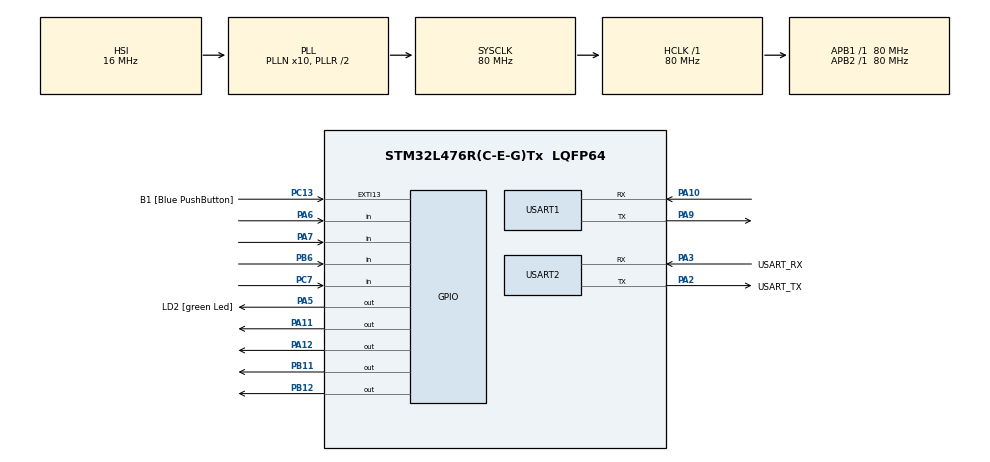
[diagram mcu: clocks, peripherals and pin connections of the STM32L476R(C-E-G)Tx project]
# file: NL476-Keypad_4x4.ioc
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Mcu.Family=STM32L4
Mcu.Name=STM32L476R(C-E-G)Tx
Mcu.Package=LQFP64
NVIC.PriorityGroup=NVIC_PRIORITYGROUP_4
PA10.Mode=Asynchronous
PA10.Signal=USART1_RX
PA11.Signal=GPIO_Output
PA12.Signal=GPIO_Output
PA13\ (JTMS-SWDIO).GPIO_Label=TMS
PA13\ (JTMS-SWDIO).Mode=Serial_Wire
PA13\ (JTMS-SWDIO).Signal=SYS_JTMS-SWDIO
PA14\ (JTCK-SWCLK).GPIO_Label=TCK
PA14\ (JTCK-SWCLK).Mode=Serial_Wire
PA14\ (JTCK-SWCLK).Signal=SYS_JTCK-SWCLK
PA2.GPIO_Label=USART_TX
PA2.GPIO_Mode=GPIO_MODE_AF_PP
PA2.GPIO_PuPd=GPIO_NOPULL
PA2.GPIO_Speed=GPIO_SPEED_FREQ_VERY_HIGH
PA2.Mode=Asynchronous
PA2.Signal=USART2_TX
PA3.GPIO_Label=USART_RX
PA3.GPIO_Mode=GPIO_MODE_AF_PP
PA3.GPIO_PuPd=GPIO_NOPULL
PA3.GPIO_Speed=GPIO_SPEED_FREQ_VERY_HIGH
PA3.Mode=Asynchronous
PA3.Signal=USART2_RX
PA5.GPIO_Label=LD2 [green Led]
PA5.GPIO_ModeDefaultOutputPP=GPIO_MODE_OUTPUT_PP
PA5.GPIO_PuPd=GPIO_NOPULL
PA5.GPIO_Speed=GPIO_SPEED_FREQ_LOW
PA5.Signal=GPIO_Output
PA6.Signal=GPIO_Input
PA7.Signal=GPIO_Input
PA9.Mode=Asynchronous
PA9.Signal=USART1_TX
PB11.Signal=GPIO_Output
PB12.Signal=GPIO_Output
PB3\ (JTDO-TRACESWO).GPIO_Label=SWO
PB3\ (JTDO-TRACESWO).Signal=SYS_JTDO-SWO
PB6.Signal=GPIO_Input
PC13.GPIO_Label=B1 [Blue PushButton]
PC13.GPIO_ModeDefaultEXTI=GPIO_MODE_IT_FALLING
PC13.GPIO_PuPd=GPIO_NOPULL
PC13.Signal=GPXTI13
PC14-OSC32_IN\ (PC14).Mode=LSE-External-Oscillator
PC14-OSC32_IN\ (PC14).Signal=RCC_OSC32_IN
PC15-OSC32_OUT\ (PC15).Mode=LSE-External-Oscillator
PC15-OSC32_OUT\ (PC15).Signal=RCC_OSC32_OUT
PC7.Signal=GPIO_Input
PH0-OSC_IN\ (PH0).Signal=RCC_OSC_IN
PH1-OSC_OUT\ (PH1).Signal=RCC_OSC_OUT
ProjectManager.HeapSize=0x200
ProjectManager.StackSize=0x400
ProjectManager.TargetToolchain=MDK-ARM V5
RCC.ADCFreq_Value=64000000
RCC.AHBFreq_Value=80000000
RCC.APB1Freq_Value=80000000
RCC.APB1TimFreq_Value=80000000
RCC.APB2Freq_Value=80000000
RCC.APB2TimFreq_Value=80000000
RCC.CortexFreq_Value=80000000
RCC.HCLKFreq_Value=80000000
RCC.HSE_VALUE=8000000
RCC.HSI_VALUE=16000000
RCC.MSI_VALUE=4000000
RCC.PLLN=10
RCC.PLLSourceVirtual=RCC_PLLSOURCE_HSI
RCC.PREFETCH_ENABLE=1
RCC.SYSCLKFreq_VALUE=80000000
RCC.SYSCLKSource=RCC_SYSCLKSOURCE_PLLCLK
RCC.USBFreq_Value=64000000
RCC.VCOOutputFreq_Value=160000000
USART1.VirtualMode-Asynchronous=VM_ASYNC
USART2.VirtualMode-Asynchronous=VM_ASYNC
board=NUCLEO-L476RG

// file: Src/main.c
/**
  ******************************************************************************
  * @file           : main.c
  * @brief          : Main program body
  ******************************************************************************
  ** This notice applies to any and all portions of this file
  * that are not between comment pairs USER CODE BEGIN and
  * USER CODE END. Other portions of this file, whether
  * inserted by the user or by software development tools
  * are owned by their respective copyright owners.
  *
  * COPYRIGHT(c) 2018 STMicroelectronics
  *
  * Redistribution and use in source and binary forms, with or without modification,
  * are permitted provided that the following conditions are met:
  *   1. Redistributions of source code must retain the above copyright notice,
  *      this list of conditions and the following disclaimer.
  *   2. Redistributions in binary form must reproduce the above copyright notice,
  *      this list of conditions and the following disclaimer in the documentation
  *      and/or other materials provided with the distribution.
  *   3. Neither the name of STMicroelectronics nor the names of its contributors
  *      may be used to endorse or promote products derived from this software
  *      without specific prior written permission.
  *
  * THIS SOFTWARE IS PROVIDED BY THE COPYRIGHT HOLDERS AND CONTRIBUTORS "AS IS"
  * AND ANY EXPRESS OR IMPLIED WARRANTIES, INCLUDING, BUT NOT LIMITED TO, THE
  * IMPLIED WARRANTIES OF MERCHANTABILITY AND FITNESS FOR A PARTICULAR PURPOSE ARE
  * DISCLAIMED. IN NO EVENT SHALL THE COPYRIGHT HOLDER OR CONTRIBUTORS BE LIABLE
  * FOR ANY DIRECT, INDIRECT, INCIDENTAL, SPECIAL, EXEMPLARY, OR CONSEQUENTIAL
  * DAMAGES (INCLUDING, BUT NOT LIMITED TO, PROCUREMENT OF SUBSTITUTE GOODS OR
  * SERVICES; LOSS OF USE, DATA, OR PROFITS; OR BUSINESS INTERRUPTION) HOWEVER
  * CAUSED AND ON ANY THEORY OF LIABILITY, WHETHER IN CONTRACT, STRICT LIABILITY,
  * OR TORT (INCLUDING NEGLIGENCE OR OTHERWISE) ARISING IN ANY WAY OUT OF THE USE
  * OF THIS SOFTWARE, EVEN IF ADVISED OF THE POSSIBILITY OF SUCH DAMAGE.
  *
  ******************************************************************************
  */
#include "main.h"
#include "stm32l4xx_hal.h"

/* USER CODE BEGIN Includes */
#include "MY_Keypad4x4.h"
#include <stdbool.h>
/* USER CODE END Includes */

UART_HandleTypeDef huart1;
UART_HandleTypeDef huart2;

/* USER CODE BEGIN PV */
/* Private variables ---------------------------------------------------------*/

/* USER CODE END PV */

void SystemClock_Config(void);
static void MX_GPIO_Init(void);
static void MX_USART2_UART_Init(void);
static void MX_USART1_UART_Init(void);

/* USER CODE BEGIN PFP */
/* Private function prototypes -----------------------------------------------*/

/* USER CODE END PFP */

/* USER CODE BEGIN 0 */

	bool mySwitches[16];

/* USER CODE END 0 */

int main(void)
{
  /* USER CODE BEGIN 1 */
	Keypad_WiresTypeDef myKeypadStruct;
  /* USER CODE END 1 */

  /* MCU Configuration----------------------------------------------------------*/

  /* Reset of all peripherals, Initializes the Flash interface and the Systick. */
  HAL_Init();

  /* Configure the system clock */
  SystemClock_Config();

  /* Initialize all configured peripherals */
  MX_GPIO_Init();
  MX_USART2_UART_Init();
  MX_USART1_UART_Init();
  /* USER CODE BEGIN 2 */

	myKeypadStruct.IN0_Port = GPIOA;
	myKeypadStruct.IN1_Port = GPIOA;
	myKeypadStruct.IN2_Port = GPIOB;
	myKeypadStruct.IN3_Port = GPIOC;

	myKeypadStruct.OUT0_Port = GPIOA;
	myKeypadStruct.OUT1_Port = GPIOA;
	myKeypadStruct.OUT2_Port = GPIOB;
	myKeypadStruct.OUT3_Port = GPIOB;

	myKeypadStruct.IN0pin = GPIO_PIN_6;
	myKeypadStruct.IN1pin = GPIO_PIN_7;
	myKeypadStruct.IN2pin = GPIO_PIN_6;
	myKeypadStruct.IN3pin = GPIO_PIN_7;

	myKeypadStruct.OUT0pin = GPIO_PIN_12;
	myKeypadStruct.OUT1pin = GPIO_PIN_11;
	myKeypadStruct.OUT2pin = GPIO_PIN_12;
	myKeypadStruct.OUT3pin = GPIO_PIN_11;

	Keypad4x4_Init(&myKeypadStruct);
  /* USER CODE END 2 */

  /* Infinite loop */
  while (1)
  {

  /* USER CODE BEGIN 3 */

		Keypad4x4_ReadKeypad(mySwitches);
		HAL_Delay(100);
  }
  /* USER CODE END 3 */

}

void SystemClock_Config(void)
{

  RCC_OscInitTypeDef RCC_OscInitStruct;
  RCC_ClkInitTypeDef RCC_ClkInitStruct;
  RCC_PeriphCLKInitTypeDef PeriphClkInit;

    /**Initializes the CPU, AHB and APB busses clocks
    */
  RCC_OscInitStruct.OscillatorType = RCC_OSCILLATORTYPE_HSI;
  RCC_OscInitStruct.HSIState = RCC_HSI_ON;
  RCC_OscInitStruct.HSICalibrationValue = 16;
  RCC_OscInitStruct.PLL.PLLState = RCC_PLL_ON;
  RCC_OscInitStruct.PLL.PLLSource = RCC_PLLSOURCE_HSI;
  RCC_OscInitStruct.PLL.PLLN = 10;
  RCC_OscInitStruct.PLL.PLLP = RCC_PLLP_DIV7;
  RCC_OscInitStruct.PLL.PLLQ = RCC_PLLQ_DIV2;
  RCC_OscInitStruct.PLL.PLLR = RCC_PLLR_DIV2;
  if (HAL_RCC_OscConfig(&RCC_OscInitStruct) != HAL_OK)
  {
    _Error_Handler(__FILE__, __LINE__);
  }

    /**Initializes the CPU, AHB and APB busses clocks
    */
  RCC_ClkInitStruct.ClockType = RCC_CLOCKTYPE_HCLK|RCC_CLOCKTYPE_SYSCLK
                              |RCC_CLOCKTYPE_PCLK1|RCC_CLOCKTYPE_PCLK2;
  RCC_ClkInitStruct.SYSCLKSource = RCC_SYSCLKSOURCE_PLLCLK;
  RCC_ClkInitStruct.AHBCLKDivider = RCC_SYSCLK_DIV1;
  RCC_ClkInitStruct.APB1CLKDivider = RCC_HCLK_DIV1;
  RCC_ClkInitStruct.APB2CLKDivider = RCC_HCLK_DIV1;

  if (HAL_RCC_ClockConfig(&RCC_ClkInitStruct, FLASH_LATENCY_4) != HAL_OK)
  {
    _Error_Handler(__FILE__, __LINE__);
  }

  PeriphClkInit.PeriphClockSelection = RCC_PERIPHCLK_USART1|RCC_PERIPHCLK_USART2;
  PeriphClkInit.Usart1ClockSelection = RCC_USART1CLKSOURCE_PCLK2;
  PeriphClkInit.Usart2ClockSelection = RCC_USART2CLKSOURCE_PCLK1;
  if (HAL_RCCEx_PeriphCLKConfig(&PeriphClkInit) != HAL_OK)
  {
    _Error_Handler(__FILE__, __LINE__);
  }

    /**Configure the main internal regulator output voltage
    */
  if (HAL_PWREx_ControlVoltageScaling(PWR_REGULATOR_VOLTAGE_SCALE1) != HAL_OK)
  {
    _Error_Handler(__FILE__, __LINE__);
  }

    /**Configure the Systick interrupt time
    */
  HAL_SYSTICK_Config(HAL_RCC_GetHCLKFreq()/1000);

    /**Configure the Systick
    */
  HAL_SYSTICK_CLKSourceConfig(SYSTICK_CLKSOURCE_HCLK);

  /* SysTick_IRQn interrupt configuration */
  HAL_NVIC_SetPriority(SysTick_IRQn, 0, 0);
}

/* USART1 init function */
static void MX_USART1_UART_Init(void)
{

  huart1.Instance = USART1;
  huart1.Init.BaudRate = 115200;
  huart1.Init.WordLength = UART_WORDLENGTH_7B;
  huart1.Init.StopBits = UART_STOPBITS_1;
  huart1.Init.Parity = UART_PARITY_NONE;
  huart1.Init.Mode = UART_MODE_TX_RX;
  huart1.Init.HwFlowCtl = UART_HWCONTROL_NONE;
  huart1.Init.OverSampling = UART_OVERSAMPLING_16;
  huart1.Init.OneBitSampling = UART_ONE_BIT_SAMPLE_DISABLE;
  huart1.AdvancedInit.AdvFeatureInit = UART_ADVFEATURE_NO_INIT;
  if (HAL_UART_Init(&huart1) != HAL_OK)
  {
    _Error_Handler(__FILE__, __LINE__);
  }

}

/* USART2 init function */
static void MX_USART2_UART_Init(void)
{

  huart2.Instance = USART2;
  huart2.Init.BaudRate = 115200;
  huart2.Init.WordLength = UART_WORDLENGTH_7B;
  huart2.Init.StopBits = UART_STOPBITS_1;
  huart2.Init.Parity = UART_PARITY_NONE;
  huart2.Init.Mode = UART_MODE_TX_RX;
  huart2.Init.HwFlowCtl = UART_HWCONTROL_NONE;
  huart2.Init.OverSampling = UART_OVERSAMPLING_16;
  huart2.Init.OneBitSampling = UART_ONE_BIT_SAMPLE_DISABLE;
  huart2.AdvancedInit.AdvFeatureInit = UART_ADVFEATURE_NO_INIT;
  if (HAL_UART_Init(&huart2) != HAL_OK)
  {
    _Error_Handler(__FILE__, __LINE__);
  }

}

/** Configure pins as
        * Analog
        * Input
        * Output
        * EVENT_OUT
        * EXTI
*/
static void MX_GPIO_Init(void)
{

  GPIO_InitTypeDef GPIO_InitStruct;

  /* GPIO Ports Clock Enable */
  __HAL_RCC_GPIOC_CLK_ENABLE();
  __HAL_RCC_GPIOH_CLK_ENABLE();
  __HAL_RCC_GPIOA_CLK_ENABLE();
  __HAL_RCC_GPIOB_CLK_ENABLE();

  /*Configure GPIO pin Output Level */
  HAL_GPIO_WritePin(GPIOA, LD2_Pin|GPIO_PIN_11|GPIO_PIN_12, GPIO_PIN_RESET);

  /*Configure GPIO pin Output Level */
  HAL_GPIO_WritePin(GPIOB, GPIO_PIN_11|GPIO_PIN_12, GPIO_PIN_RESET);

  /*Configure GPIO pin : B1_Pin */
  GPIO_InitStruct.Pin = B1_Pin;
  GPIO_InitStruct.Mode = GPIO_MODE_IT_FALLING;
  GPIO_InitStruct.Pull = GPIO_NOPULL;
  HAL_GPIO_Init(B1_GPIO_Port, &GPIO_InitStruct);

  /*Configure GPIO pins : LD2_Pin PA11 PA12 */
  GPIO_InitStruct.Pin = LD2_Pin|GPIO_PIN_11|GPIO_PIN_12;
  GPIO_InitStruct.Mode = GPIO_MODE_OUTPUT_PP;
  GPIO_InitStruct.Pull = GPIO_NOPULL;
  GPIO_InitStruct.Speed = GPIO_SPEED_FREQ_LOW;
  HAL_GPIO_Init(GPIOA, &GPIO_InitStruct);

  /*Configure GPIO pins : PA6 PA7 */
  GPIO_InitStruct.Pin = GPIO_PIN_6|GPIO_PIN_7;
  GPIO_InitStruct.Mode = GPIO_MODE_INPUT;
  GPIO_InitStruct.Pull = GPIO_NOPULL;
  HAL_GPIO_Init(GPIOA, &GPIO_InitStruct);

  /*Configure GPIO pins : PB11 PB12 */
  GPIO_InitStruct.Pin = GPIO_PIN_11|GPIO_PIN_12;
  GPIO_InitStruct.Mode = GPIO_MODE_OUTPUT_PP;
  GPIO_InitStruct.Pull = GPIO_NOPULL;
  GPIO_InitStruct.Speed = GPIO_SPEED_FREQ_LOW;
  HAL_GPIO_Init(GPIOB, &GPIO_InitStruct);

  /*Configure GPIO pin : PC7 */
  GPIO_InitStruct.Pin = GPIO_PIN_7;
  GPIO_InitStruct.Mode = GPIO_MODE_INPUT;
  GPIO_InitStruct.Pull = GPIO_NOPULL;
  HAL_GPIO_Init(GPIOC, &GPIO_InitStruct);

  /*Configure GPIO pin : PB6 */
  GPIO_InitStruct.Pin = GPIO_PIN_6;
  GPIO_InitStruct.Mode = GPIO_MODE_INPUT;
  GPIO_InitStruct.Pull = GPIO_NOPULL;
  HAL_GPIO_Init(GPIOB, &GPIO_InitStruct);

}

void _Error_Handler(char *file, int line)
{
  while(1)
  {
  }
}

/************************ (C) COPYRIGHT STMicroelectronics *****END OF FILE****/
